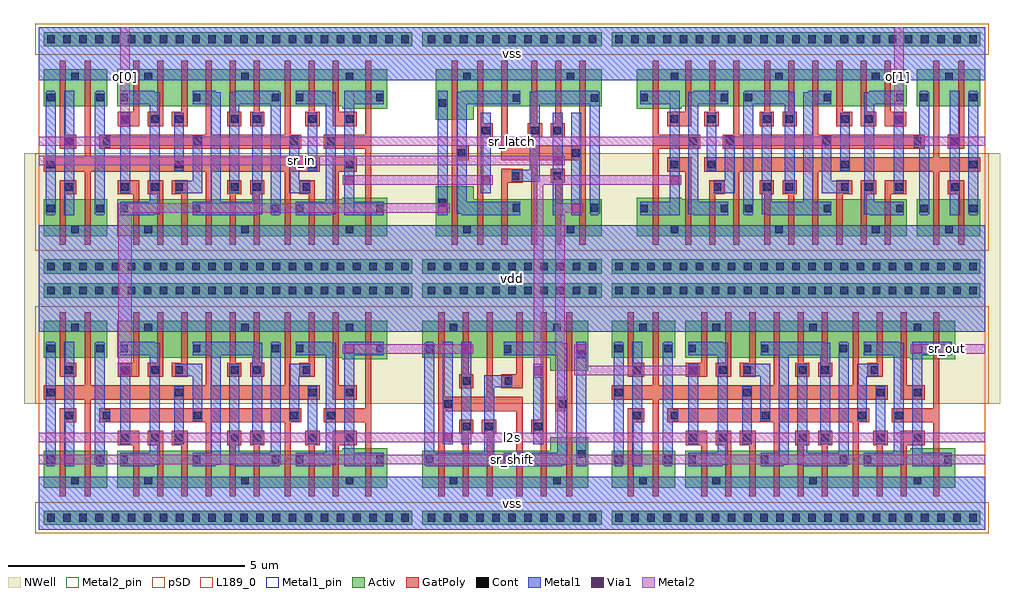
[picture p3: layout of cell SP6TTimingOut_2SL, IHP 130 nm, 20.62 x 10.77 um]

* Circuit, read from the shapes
.subckt SP6TTimingOut_2SL l2s o[0] o[1] sr_in sr_latch sr_out sr_shift vdd vss
XM1 vss sr_shift n1 vss sg13_lv_nmos w=0.78u l=0.13u
XM2 vss sr_latch n2 vss sg13_lv_nmos w=0.78u l=0.13u
XM3 n3 n1 vss vss sg13_lv_nmos w=0.78u l=0.13u
XM4 n4 n2 vss vss sg13_lv_nmos w=0.78u l=0.13u
XM5 vss dff_x1_0/i n5 vss sg13_lv_nmos w=0.78u l=0.13u
XM6 vss o[0] n6 vss sg13_lv_nmos w=0.78u l=0.13u
XM7 n7 n5 vss vss sg13_lv_nmos w=0.78u l=0.13u
XM8 n8 n6 vss vss sg13_lv_nmos w=0.78u l=0.13u
XM9 n9 n1 n7 vss sg13_lv_nmos w=0.78u l=0.13u
XM10 n10 n2 n8 vss sg13_lv_nmos w=0.78u l=0.13u
XM11 n11 n3 n9 vss sg13_lv_nmos w=0.78u l=0.13u
XM12 n12 n4 n10 vss sg13_lv_nmos w=0.78u l=0.13u
XM13 vss n13 n11 vss sg13_lv_nmos w=0.78u l=0.13u
XM14 vss n14 n12 vss sg13_lv_nmos w=0.78u l=0.13u
XM15 n13 n9 vss vss sg13_lv_nmos w=0.78u l=0.13u
XM16 n14 n10 vss vss sg13_lv_nmos w=0.78u l=0.13u
XM17 n15 n3 n13 vss sg13_lv_nmos w=0.78u l=0.13u
XM18 n16 n4 n14 vss sg13_lv_nmos w=0.78u l=0.13u
XM19 n17 n1 n15 vss sg13_lv_nmos w=0.78u l=0.13u
XM20 n18 n2 n16 vss sg13_lv_nmos w=0.78u l=0.13u
XM21 vss mux2_x1_5/i0 n17 vss sg13_lv_nmos w=0.78u l=0.13u
XM22 vss mux2_x1_3/i1 n18 vss sg13_lv_nmos w=0.78u l=0.13u
XM23 mux2_x1_5/i0 n15 vss vss sg13_lv_nmos w=0.83u l=0.13u
XM24 mux2_x1_3/i1 n16 vss vss sg13_lv_nmos w=0.83u l=0.13u
XM25 vss l2s n19 vss sg13_lv_nmos w=0.78u l=0.13u
XM26 vss n20 dff_x1_0/i vss sg13_lv_nmos w=1.07u l=0.13u
XM27 n21 mux2_x1_5/i0 vss vss sg13_lv_nmos w=0.78u l=0.13u
XM28 n22 mux2_x1_3/i1 vss vss sg13_lv_nmos w=0.78u l=0.13u
XM29 n23 n19 n21 vss sg13_lv_nmos w=0.78u l=0.13u
XM30 n20 l2s n22 vss sg13_lv_nmos w=0.78u l=0.13u
XM31 n24 l2s n23 vss sg13_lv_nmos w=0.78u l=0.13u
XM32 n25 n26 n20 vss sg13_lv_nmos w=0.78u l=0.13u
XM33 vss mux2_x1_5/i1 n24 vss sg13_lv_nmos w=0.78u l=0.13u
XM34 vss sr_in n25 vss sg13_lv_nmos w=0.78u l=0.13u
XM35 dff_x1_1/i n23 vss vss sg13_lv_nmos w=1.07u l=0.13u
XM36 n26 l2s vss vss sg13_lv_nmos w=0.78u l=0.13u
XM37 vss sr_shift n27 vss sg13_lv_nmos w=0.78u l=0.13u
XM38 n28 n27 vss vss sg13_lv_nmos w=0.78u l=0.13u
XM39 vss n29 mux2_x1_5/i1 vss sg13_lv_nmos w=0.83u l=0.13u
XM40 n30 mux2_x1_5/i1 vss vss sg13_lv_nmos w=0.78u l=0.13u
XM41 vss dff_x1_1/i n31 vss sg13_lv_nmos w=0.78u l=0.13u
XM42 n29 n32 n30 vss sg13_lv_nmos w=0.78u l=0.13u
XM43 n33 n31 vss vss sg13_lv_nmos w=0.78u l=0.13u
XM44 n34 n35 n29 vss sg13_lv_nmos w=0.78u l=0.13u
XM45 n36 n27 n33 vss sg13_lv_nmos w=0.78u l=0.13u
XM46 vss n37 n34 vss sg13_lv_nmos w=0.78u l=0.13u
XM47 n38 n28 n36 vss sg13_lv_nmos w=0.78u l=0.13u
XM48 n39 n34 vss vss sg13_lv_nmos w=0.78u l=0.13u
XM49 vss n40 n38 vss sg13_lv_nmos w=0.78u l=0.13u
XM50 n37 n35 n39 vss sg13_lv_nmos w=0.78u l=0.13u
XM51 n40 n36 vss vss sg13_lv_nmos w=0.78u l=0.13u
XM52 n41 n32 n37 vss sg13_lv_nmos w=0.78u l=0.13u
XM53 n42 n28 n40 vss sg13_lv_nmos w=0.78u l=0.13u
XM54 vss n43 n41 vss sg13_lv_nmos w=0.78u l=0.13u
XM55 n44 n27 n42 vss sg13_lv_nmos w=0.78u l=0.13u
XM56 n43 o[1] vss vss sg13_lv_nmos w=0.78u l=0.13u
XM57 vss sr_out n44 vss sg13_lv_nmos w=0.78u l=0.13u
XM58 sr_out n42 vss vss sg13_lv_nmos w=0.83u l=0.13u
XM59 vss n32 n35 vss sg13_lv_nmos w=0.78u l=0.13u
XM60 n32 sr_latch vss vss sg13_lv_nmos w=0.78u l=0.13u
XM61 vdd sr_shift n1 vdd sg13_lv_pmos w=0.78u l=0.13u
XM62 vdd sr_latch n2 vdd sg13_lv_pmos w=0.78u l=0.13u
XM63 n3 n1 vdd vdd sg13_lv_pmos w=0.78u l=0.13u
XM64 n4 n2 vdd vdd sg13_lv_pmos w=0.78u l=0.13u
XM65 vdd dff_x1_0/i n5 vdd sg13_lv_pmos w=0.78u l=0.13u
XM66 vdd o[0] n6 vdd sg13_lv_pmos w=0.78u l=0.13u
XM67 n45 n5 vdd vdd sg13_lv_pmos w=0.78u l=0.13u
XM68 n46 n6 vdd vdd sg13_lv_pmos w=0.78u l=0.13u
XM69 n9 n3 n45 vdd sg13_lv_pmos w=0.78u l=0.13u
XM70 n10 n4 n46 vdd sg13_lv_pmos w=0.78u l=0.13u
XM71 n47 n1 n9 vdd sg13_lv_pmos w=0.78u l=0.13u
XM72 n48 n2 n10 vdd sg13_lv_pmos w=0.78u l=0.13u
XM73 vdd n13 n47 vdd sg13_lv_pmos w=0.78u l=0.13u
XM74 vdd n14 n48 vdd sg13_lv_pmos w=0.78u l=0.13u
XM75 n13 n9 vdd vdd sg13_lv_pmos w=0.78u l=0.13u
XM76 n14 n10 vdd vdd sg13_lv_pmos w=0.78u l=0.13u
XM77 n15 n1 n13 vdd sg13_lv_pmos w=0.78u l=0.13u
XM78 n16 n2 n14 vdd sg13_lv_pmos w=0.78u l=0.13u
XM79 n49 n3 n15 vdd sg13_lv_pmos w=0.78u l=0.13u
XM80 n50 n4 n16 vdd sg13_lv_pmos w=0.78u l=0.13u
XM81 vdd mux2_x1_5/i0 n49 vdd sg13_lv_pmos w=0.78u l=0.13u
XM82 vdd mux2_x1_3/i1 n50 vdd sg13_lv_pmos w=0.78u l=0.13u
XM83 mux2_x1_5/i0 n15 vdd vdd sg13_lv_pmos w=0.82u l=0.13u
XM84 mux2_x1_3/i1 n16 vdd vdd sg13_lv_pmos w=0.82u l=0.13u
XM85 vdd l2s n19 vdd sg13_lv_pmos w=0.78u l=0.13u
XM86 vdd n20 dff_x1_0/i vdd sg13_lv_pmos w=1.06u l=0.13u
XM87 n51 mux2_x1_5/i0 vdd vdd sg13_lv_pmos w=0.78u l=0.13u
XM88 n52 mux2_x1_3/i1 vdd vdd sg13_lv_pmos w=0.78u l=0.13u
XM89 n23 l2s n51 vdd sg13_lv_pmos w=0.78u l=0.13u
XM90 n20 n26 n52 vdd sg13_lv_pmos w=0.78u l=0.13u
XM91 n53 n19 n23 vdd sg13_lv_pmos w=0.78u l=0.13u
XM92 n54 l2s n20 vdd sg13_lv_pmos w=0.78u l=0.13u
XM93 vdd mux2_x1_5/i1 n53 vdd sg13_lv_pmos w=0.78u l=0.13u
XM94 vdd sr_in n54 vdd sg13_lv_pmos w=0.78u l=0.13u
XM95 dff_x1_1/i n23 vdd vdd sg13_lv_pmos w=1.06u l=0.13u
XM96 n26 l2s vdd vdd sg13_lv_pmos w=0.78u l=0.13u
XM97 vdd sr_shift n27 vdd sg13_lv_pmos w=0.78u l=0.13u
XM98 n28 n27 vdd vdd sg13_lv_pmos w=0.78u l=0.13u
XM99 vdd n29 mux2_x1_5/i1 vdd sg13_lv_pmos w=0.82u l=0.13u
XM100 n55 mux2_x1_5/i1 vdd vdd sg13_lv_pmos w=0.78u l=0.13u
XM101 vdd dff_x1_1/i n31 vdd sg13_lv_pmos w=0.78u l=0.13u
XM102 n29 n35 n55 vdd sg13_lv_pmos w=0.78u l=0.13u
XM103 n56 n31 vdd vdd sg13_lv_pmos w=0.78u l=0.13u
XM104 n34 n32 n29 vdd sg13_lv_pmos w=0.78u l=0.13u
XM105 n36 n28 n56 vdd sg13_lv_pmos w=0.78u l=0.13u
XM106 vdd n37 n34 vdd sg13_lv_pmos w=0.78u l=0.13u
XM107 n57 n27 n36 vdd sg13_lv_pmos w=0.78u l=0.13u
XM108 n58 n34 vdd vdd sg13_lv_pmos w=0.78u l=0.13u
XM109 vdd n40 n57 vdd sg13_lv_pmos w=0.78u l=0.13u
XM110 n37 n32 n58 vdd sg13_lv_pmos w=0.78u l=0.13u
XM111 n40 n36 vdd vdd sg13_lv_pmos w=0.78u l=0.13u
XM112 n59 n35 n37 vdd sg13_lv_pmos w=0.78u l=0.13u
XM113 n42 n27 n40 vdd sg13_lv_pmos w=0.78u l=0.13u
XM114 vdd n43 n59 vdd sg13_lv_pmos w=0.78u l=0.13u
XM115 n60 n28 n42 vdd sg13_lv_pmos w=0.78u l=0.13u
XM116 n43 o[1] vdd vdd sg13_lv_pmos w=0.78u l=0.13u
XM117 vdd sr_out n60 vdd sg13_lv_pmos w=0.78u l=0.13u
XM118 sr_out n42 vdd vdd sg13_lv_pmos w=0.82u l=0.13u
XM119 vdd n32 n35 vdd sg13_lv_pmos w=0.78u l=0.13u
XM120 n32 sr_latch vdd vdd sg13_lv_pmos w=0.78u l=0.13u
.ends

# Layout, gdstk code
from math import pi, radians
import gdstk
lib = gdstk.Library(unit=1e-6, precision=1e-09)
def R(c, l, rs):  # rectangles x0, y0, x1, y1
    for r in rs: c.add(gdstk.rectangle(r[:2], r[2:], *l))
def A(c, l, x, y, w, h, nx, ny, dx, dy):  # array of equal rectangles
    R(c, l, [(x+i*dx, y+j*dy, x+i*dx+w, y+j*dy+h) for i in range(nx) for j in range(ny)])
def P(c, l, *ps):  # polygons
    for p in ps: c.add(gdstk.Polygon(p, *l))
Activ = (1, 0)
GatPoly = (5, 0)
Cont = (6, 0)
Metal1 = (8, 0)
Metal1_pin = (8, 2)
Metal2 = (10, 0)
Metal2_pin = (10, 2)
pSD = (14, 0)
Via1 = (19, 0)
NWell = (31, 0)
L189_0 = (189, 0)

dff_x1 = lib.new_cell('dff_x1')
R(dff_x1, Activ, [(0.105,0.105,7.895,0.405), (0.105,0.89,1.445,1.67), (0.105,3.64,1.445,4.42), (0.105,4.905,7.895,5.205)])
P(dff_x1, Activ, [(6.415,3.6),(6.415,3.64),(1.655,3.64),(1.655,4.42),(7.365,4.42),(7.365,3.6)],
  [(1.655,0.89),(1.655,1.67),(6.415,1.67),(6.415,1.72),(7.365,1.72),(7.365,0.89)])
P(dff_x1, GatPoly, [(4.035,0.71),(4.035,1.79),(3.985,1.79),(3.985,2.09),(4.285,2.09),(4.285,1.79),(4.165,1.79),(4.165,0.71)],
  [(6.215,2.75),(6.215,4.6),(6.345,4.6),(6.345,3.05),(6.715,3.05),(6.715,2.75)],
  [(4.545,0.71),(4.545,1.79),(4.465,1.79),(4.465,2.09),(4.765,2.09),(4.765,1.79),(4.675,1.79),(4.675,0.71)],
  [(6.215,0.71),(6.215,2.09),(6.715,2.09),(6.715,1.79),(6.345,1.79),(6.345,0.71)],
  [(6.895,0.71),(6.895,2.27),(6.025,2.27),(6.025,2.57),(6.895,2.57),(6.895,4.6),(7.025,4.6),(7.025,0.71)],
  [(5.705,0.71),(5.705,1.79),(5.635,1.79),(5.635,2.09),(5.935,2.09),(5.935,1.79),(5.835,1.79),(5.835,0.71)],
  [(2.505,0.71),(2.505,1.79),(2.305,1.79),(2.305,2.09),(2.635,2.09),(2.635,0.71)],
  [(3.015,0.71),(3.015,1.79),(2.815,1.79),(2.815,2.09),(3.145,2.09),(3.145,0.71)],
  [(0.975,0.71),(0.975,2.75),(0.105,2.75),(0.105,3.05),(0.975,3.05),(0.975,4.6),(1.105,4.6),(1.105,3.05),(3.525,3.05),(3.525,4.6),(3.655,4.6),(3.655,3.05),(5.195,3.05),(5.195,4.6),(5.325,4.6),(5.325,3.05),(5.935,3.05),(5.935,2.75),(1.105,2.75),(1.105,0.71)],
  [(1.995,0.71),(1.995,1.79),(1.675,1.79),(1.675,2.09),(2.125,2.09),(2.125,0.71)],
  [(2.305,3.23),(2.305,3.53),(2.505,3.53),(2.505,4.6),(2.635,4.6),(2.635,3.23)],
  [(2.815,3.23),(2.815,3.53),(3.015,3.53),(3.015,4.6),(3.145,4.6),(3.145,3.23)],
  [(5.505,3.23),(5.505,3.53),(5.705,3.53),(5.705,4.6),(5.835,4.6),(5.835,3.23)],
  [(0.445,0.71),(0.445,2.57),(0.795,2.57),(0.795,2.27),(0.575,2.27),(0.575,0.71)],
  [(3.525,0.71),(3.525,2.27),(1.285,2.27),(1.285,2.57),(5.545,2.57),(5.545,2.27),(5.325,2.27),(5.325,0.71),(5.195,0.71),(5.195,2.27),(3.655,2.27),(3.655,0.71)],
  [(3.985,3.23),(3.985,3.53),(4.035,3.53),(4.035,4.6),(4.165,4.6),(4.165,3.53),(4.285,3.53),(4.285,3.23)],
  [(0.445,3.23),(0.445,4.6),(0.575,4.6),(0.575,3.53),(0.795,3.53),(0.795,3.23)],
  [(1.675,3.23),(1.675,3.53),(1.995,3.53),(1.995,4.6),(2.125,4.6),(2.125,3.23)],
  [(4.465,3.23),(4.465,3.53),(4.545,3.53),(4.545,4.6),(4.675,4.6),(4.675,3.53),(4.765,3.53),(4.765,3.23)])
A(dff_x1, Cont, 0.18, 0.175, 0.16, 0.16, 23, 2, 0.34, 4.8)
R(dff_x1, Cont, [(0.685,0.96,0.845,1.12), (2.235,0.96,2.395,1.12), (4.275,0.96,4.435,1.12), (6.485,0.96,6.645,1.12), (0.175,1.405,0.335,1.565), (1.215,1.405,1.375,1.565), (1.725,1.405,1.885,1.565), (3.255,1.405,3.415,1.565), (4.925,1.405,5.085,1.565), (5.435,1.405,5.595,1.565), (7.135,1.405,7.295,1.565), (1.745,1.86,1.905,2.02), (2.375,1.86,2.535,2.02), (2.885,1.86,3.045,2.02), (4.055,1.86,4.215,2.02), (4.535,1.86,4.695,2.02), (5.705,1.86,5.865,2.02), (6.485,1.86,6.645,2.02), (0.565,2.34,0.725,2.5), (1.355,2.34,1.515,2.5), (3.275,2.34,3.435,2.5), (5.315,2.34,5.475,2.5), (6.095,2.34,6.255,2.5), (0.175,2.82,0.335,2.98), (2.885,2.82,3.045,2.98), (5.705,2.82,5.865,2.98), (6.485,2.82,6.645,2.98), (0.565,3.3,0.725,3.46), (1.745,3.3,1.905,3.46), (2.375,3.3,2.535,3.46), (2.885,3.3,3.045,3.46), (4.055,3.3,4.215,3.46), (4.535,3.3,4.695,3.46), (5.575,3.3,5.735,3.46), (0.175,3.75,0.335,3.91), (1.215,3.75,1.375,3.91), (1.725,3.75,1.885,3.91), (3.255,3.75,3.415,3.91), (4.925,3.75,5.085,3.91), (5.435,3.75,5.595,3.91), (7.135,3.75,7.295,3.91), (0.685,4.19,0.845,4.35), (2.235,4.19,2.395,4.35), (4.275,4.19,4.435,4.35), (6.485,4.19,6.645,4.35)])
R(dff_x1, Metal1, [(0,0,8,1.12), (0.54,1.34,0.75,3.97), (1.72,1.81,1.93,3.51), (2.86,1.81,3.07,3.03), (5.68,1.81,5.89,3.03), (0,4.19,8,5.31)])
P(dff_x1, Metal1, [(0.175,1.34),(0.175,1.37),(0.15,1.37),(0.15,3.95),(0.175,3.95),(0.175,3.97),(0.335,3.97),(0.335,3.95),(0.36,3.95),(0.36,1.37),(0.335,1.37),(0.335,1.34)],
  [(1.215,1.34),(1.215,1.37),(1.19,1.37),(1.19,3.95),(1.215,3.95),(1.215,3.97),(1.375,3.97),(1.375,3.95),(1.4,3.95),(1.4,2.55),(1.515,2.55),(1.515,2.29),(1.4,2.29),(1.4,1.37),(1.375,1.37),(1.375,1.34)],
  [(5.29,2.29),(5.29,3.51),(5.735,3.51),(5.735,3.25),(5.5,3.25),(5.5,2.29)],
  [(3.25,2.29),(3.25,3.25),(2.885,3.25),(2.885,3.51),(3.46,3.51),(3.46,2.29)],
  [(3.255,1.34),(3.255,1.63),(3.64,1.63),(3.64,3.69),(3.255,3.69),(3.255,3.97),(4.615,3.97),(4.615,3.95),(4.72,3.95),(4.72,1.81),(4.51,1.81),(4.51,3.69),(3.85,3.69),(3.85,1.37),(3.745,1.37),(3.745,1.34)],
  [(1.725,1.34),(1.725,1.63),(2.35,1.63),(2.35,3.69),(1.725,3.69),(1.725,3.97),(2.455,3.97),(2.455,3.95),(2.56,3.95),(2.56,1.37),(2.455,1.37),(2.455,1.34)],
  [(4.135,1.34),(4.135,1.37),(4.03,1.37),(4.03,3.51),(4.24,3.51),(4.24,1.63),(4.9,1.63),(4.9,3.95),(4.925,3.95),(4.925,3.97),(5.085,3.97),(5.085,3.95),(5.11,3.95),(5.11,1.37),(5.085,1.37),(5.085,1.34)],
  [(5.435,1.34),(5.435,1.63),(6.07,1.63),(6.07,3.69),(5.435,3.69),(5.435,3.97),(6.175,3.97),(6.175,3.95),(6.28,3.95),(6.28,1.37),(6.175,1.37),(6.175,1.34)],
  [(6.46,1.34),(6.46,3.97),(7.295,3.97),(7.295,3.69),(6.67,3.69),(6.67,1.63),(7.295,1.63),(7.295,1.34)])
R(dff_x1, Metal1_pin, [(0,0,8,1.12), (0.54,1.34,0.75,3.97), (6.46,1.34,6.67,3.97), (1.72,1.81,1.93,3.51), (0,4.19,8,5.31)])
R(dff_x1, pSD, [(-0.075,-0.075,8.075,0.585), (-0.075,2.66,8.075,4.72)])
R(dff_x1, NWell, [(-0.31,2.66,8.31,5.62)])
dff_x1.add(gdstk.Label('vdd', (4,4.75), layer=8, texttype=25))
dff_x1.add(gdstk.Label('vss', (4,0.56), layer=8, texttype=25))
dff_x1.add(gdstk.Label('clk', (0.645,2.655), layer=8, texttype=25))
dff_x1.add(gdstk.Label('i', (1.825,2.66), layer=8, texttype=25))
dff_x1.add(gdstk.Label('q', (6.565,2.655), layer=8, texttype=25))

mux2_x1 = lib.new_cell('mux2_x1')
R(mux2_x1, Activ, [(0.105,0.105,3.895,0.405), (0.105,4.905,3.895,5.205)])
P(mux2_x1, Activ, [(2.805,3.36),(2.805,3.64),(0.105,3.64),(0.105,4.42),(3.615,4.42),(3.615,3.36)],
  [(0.105,0.89),(0.105,1.67),(2.805,1.67),(2.805,1.96),(3.615,1.96),(3.615,0.89)])
P(mux2_x1, GatPoly, [(1.775,2.99),(1.775,3.29),(2.095,3.29),(2.095,4.6),(2.225,4.6),(2.225,2.99)],
  [(0.955,0.71),(0.955,2.03),(0.885,2.03),(0.885,2.33),(1.185,2.33),(1.185,2.03),(1.085,2.03),(1.085,0.71)],
  [(1.465,0.71),(1.465,2.03),(1.365,2.03),(1.365,2.33),(1.665,2.33),(1.665,2.03),(1.595,2.03),(1.595,0.71)],
  [(0.445,0.71),(0.445,4.6),(0.575,4.6),(0.575,2.81),(1.465,2.81),(1.465,4.6),(1.595,4.6),(1.595,2.81),(2.225,2.81),(2.225,0.71),(2.095,0.71),(2.095,2.51),(0.575,2.51),(0.575,0.71)],
  [(0.885,2.99),(0.885,3.29),(0.955,3.29),(0.955,4.6),(1.085,4.6),(1.085,3.29),(1.185,3.29),(1.185,2.99)],
  [(3.145,0.71),(3.145,2.51),(2.915,2.51),(2.915,2.81),(3.145,2.81),(3.145,4.6),(3.275,4.6),(3.275,0.71)],
  [(2.605,0.71),(2.605,2.03),(2.405,2.03),(2.405,2.33),(2.605,2.33),(2.605,4.6),(2.735,4.6),(2.735,0.71)])
A(mux2_x1, Cont, 0.22, 0.175, 0.16, 0.16, 11, 2, 0.34, 4.8)
R(mux2_x1, Cont, [(0.685,0.96,0.845,1.12), (2.875,0.96,3.035,1.12), (0.175,1.415,0.335,1.575), (1.825,1.415,1.985,1.575), (3.385,1.525,3.545,1.685), (0.955,2.1,1.115,2.26), (1.435,2.1,1.595,2.26), (2.475,2.1,2.635,2.26), (0.565,2.58,0.725,2.74), (2.985,2.58,3.145,2.74), (0.955,3.06,1.115,3.22), (1.845,3.06,2.005,3.22), (3.385,3.63,3.545,3.79), (0.175,3.735,0.335,3.895), (1.825,3.735,1.985,3.895), (0.685,4.19,0.845,4.35), (2.875,4.19,3.035,4.35)])
R(mux2_x1, Metal1, [(0,0,4,1.12), (3.36,1.34,3.57,3.97), (0.54,1.805,0.75,3.97), (0.93,1.805,1.14,3.97), (2.45,1.805,2.66,3.505), (0,4.19,4,5.31)])
P(mux2_x1, Metal1, [(0.175,1.34),(0.175,1.365),(0.15,1.365),(0.15,3.945),(0.175,3.945),(0.175,3.97),(0.335,3.97),(0.335,3.945),(0.36,3.945),(0.36,1.625),(1.41,1.625),(1.41,3.27),(2.005,3.27),(2.005,3.01),(1.62,3.01),(1.62,1.365),(1.515,1.365),(1.515,1.34)],
  [(1.825,1.34),(1.825,1.625),(2.96,1.625),(2.96,3.685),(1.825,3.685),(1.825,3.97),(3.065,3.97),(3.065,3.945),(3.17,3.945),(3.17,1.365),(3.065,1.365),(3.065,1.34)])
R(mux2_x1, Metal1_pin, [(0,0,4,1.12), (3.36,1.34,3.57,3.97), (0.54,1.805,0.75,3.97), (0.93,1.805,1.14,3.97), (2.45,1.805,2.66,3.505), (0,4.19,4,5.31)])
R(mux2_x1, pSD, [(-0.075,-0.075,4.075,0.585), (-0.075,2.66,4.075,4.72)])
R(mux2_x1, NWell, [(-0.31,2.66,4.31,5.62)])
mux2_x1.add(gdstk.Label('vdd', (2,4.75), layer=8, texttype=25))
mux2_x1.add(gdstk.Label('vss', (2,0.56), layer=8, texttype=25))
mux2_x1.add(gdstk.Label('cmd', (0.645,2.887), layer=8, texttype=25))
mux2_x1.add(gdstk.Label('i0', (1.035,2.887), layer=8, texttype=25))
mux2_x1.add(gdstk.Label('i1', (2.555,2.655), layer=8, texttype=25))
mux2_x1.add(gdstk.Label('q', (3.465,2.655), layer=8, texttype=25))

sp6ttimingout_2sl = lib.new_cell('SP6TTimingOut_2SL')
R(sp6ttimingout_2sl, Metal1, [(0,0,20,1.12), (0.54,1.34,0.75,1.63), (12.54,1.34,12.75,1.63), (8.54,1.805,8.75,2.095), (10.45,3.215,10.66,3.505), (1.72,3.22,1.93,3.51), (13.72,3.22,13.93,3.51), (6.46,3.68,6.67,3.97), (8.93,3.68,9.14,3.97), (11.36,3.68,11.57,3.97), (18.46,3.68,18.67,3.97), (0,4.19,20,6.43), (8.43,6.65,8.64,6.94), (11.25,6.65,11.46,6.94), (6.46,7.245,6.67,7.535), (9.34,7.245,9.55,7.535), (13.33,7.245,13.54,7.535), (10.86,7.655,11.07,7.945), (0.54,8.065,0.75,8.355), (19.25,8.065,19.46,8.355), (1.72,8.52,1.93,8.81), (18.07,8.52,18.28,8.81), (0,9.5,20,10.62)])
R(sp6ttimingout_2sl, Metal1_pin, [(0,0,20,1.12), (0,4.19,20,6.43), (0,9.5,20,10.62)])
R(sp6ttimingout_2sl, Metal2, [(0,1.385,20,1.585), (6.42,3.725,9.18,3.925), (18.42,3.725,20,3.925), (6.42,7.29,9.59,7.49), (0,7.7,11.11,7.9), (0,8.11,20,8.31), (1.725,8.52,1.925,10.62), (18.075,8.52,18.275,10.62)])
P(sp6ttimingout_2sl, Metal2, [(0,1.85),(0,2.05),(10.91,2.05),(10.91,6.895),(11.5,6.895),(11.5,6.695),(11.11,6.695),(11.11,2.05),(20,2.05),(20,1.85)],
  [(11.32,3.265),(11.32,3.925),(11.61,3.925),(11.61,3.465),(13.97,3.465),(13.97,3.265)],
  [(1.68,3.265),(1.68,6.895),(8.68,6.895),(8.68,6.695),(1.97,6.695),(1.97,3.265)],
  [(10.455,3.215),(10.455,7.49),(13.58,7.49),(13.58,7.29),(10.655,7.29),(10.655,3.215)])
R(sp6ttimingout_2sl, Metal2_pin, [(0,1.385,20,1.585), (0,1.85,20,2.05), (18.42,3.725,20,3.925), (0,7.7,11.11,7.9), (0,8.11,20,8.31), (1.725,8.52,1.925,10.62), (18.075,8.52,18.275,10.62)])
R(sp6ttimingout_2sl, Via1, [(0.55,1.39,0.74,1.58), (12.55,1.39,12.74,1.58), (8.55,1.855,8.74,2.045), (10.46,3.265,10.65,3.455), (1.73,3.27,1.92,3.46), (13.73,3.27,13.92,3.46), (6.47,3.73,6.66,3.92), (8.94,3.73,9.13,3.92), (11.37,3.73,11.56,3.92), (18.47,3.73,18.66,3.92), (8.44,6.7,8.63,6.89), (11.26,6.7,11.45,6.89), (6.47,7.295,6.66,7.485), (9.35,7.295,9.54,7.485), (13.34,7.295,13.53,7.485), (10.87,7.705,11.06,7.895), (0.55,8.115,0.74,8.305), (19.26,8.115,19.45,8.305), (1.73,8.57,1.92,8.76), (18.08,8.57,18.27,8.76)])
R(sp6ttimingout_2sl, L189_0, [(0,0,20,10.62)])
sp6ttimingout_2sl.add(gdstk.Reference(dff_x1, (0,0)))
sp6ttimingout_2sl.add(gdstk.Reference(dff_x1, (12,0)))
sp6ttimingout_2sl.add(gdstk.Reference(dff_x1, (0,10.62), x_reflection=True))
sp6ttimingout_2sl.add(gdstk.Reference(mux2_x1, (12,10.62), rotation=pi))
sp6ttimingout_2sl.add(gdstk.Reference(dff_x1, (20,10.62), rotation=pi))
sp6ttimingout_2sl.add(gdstk.Reference(mux2_x1, (8,0)))
sp6ttimingout_2sl.add(gdstk.Label('sr_shift', (10,1.485), layer=10, texttype=25))
sp6ttimingout_2sl.add(gdstk.Label('l2s', (10,1.95), layer=10, texttype=25))
sp6ttimingout_2sl.add(gdstk.Label('sr_out', (19.21,3.825), layer=10, texttype=25))
sp6ttimingout_2sl.add(gdstk.Label('o[0]', (1.825,9.57), layer=10, texttype=25))
sp6ttimingout_2sl.add(gdstk.Label('o[1]', (18.175,9.57), layer=10, texttype=25))
sp6ttimingout_2sl.add(gdstk.Label('sr_latch', (10,8.21), layer=10, texttype=25))
sp6ttimingout_2sl.add(gdstk.Label('sr_in', (5.555,7.8), layer=10, texttype=25))
sp6ttimingout_2sl.add(gdstk.Label('vss', (10,0.56), layer=8, texttype=25))
sp6ttimingout_2sl.add(gdstk.Label('vss', (10,10.06), layer=8, texttype=25))
sp6ttimingout_2sl.add(gdstk.Label('vdd', (10,5.31), layer=8, texttype=25))

lib.write_gds('SP6TTimingOut_2SL.gds')
